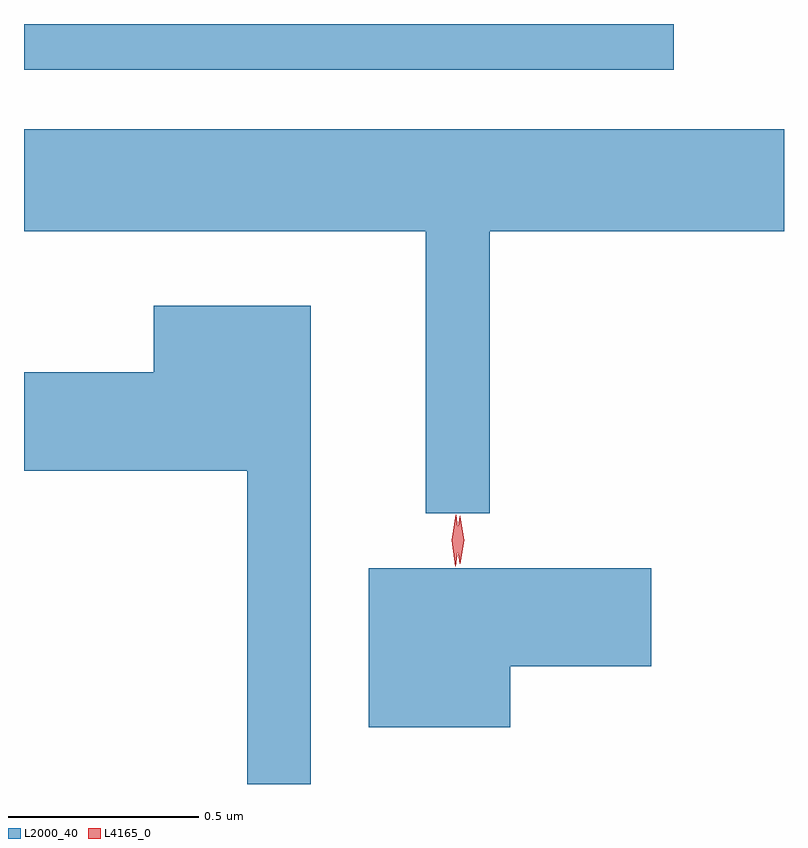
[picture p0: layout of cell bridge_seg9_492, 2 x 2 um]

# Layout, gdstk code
import gdstk
lib = gdstk.Library(unit=1e-6, precision=1e-09)
def R(c, l, rs):  # rectangles x0, y0, x1, y1
    for r in rs: c.add(gdstk.rectangle(r[:2], r[2:], *l))
def P(c, l, *ps):  # polygons
    for p in ps: c.add(gdstk.Polygon(p, *l))
L2000_40 = (2000, 40)
L4165_0 = (4165, 0)

bridge_seg9_492 = lib.new_cell('bridge_seg9_492')
R(bridge_seg9_492, L2000_40, [(525.014,2012.221,526.724,2012.341)])
P(bridge_seg9_492, L2000_40, [(526.239,2011.796),(527.014,2011.796),(527.014,2012.064),(525.014,2012.064),(525.014,2011.796),(526.071,2011.796),(526.071,2011.053),(526.239,2011.053)],
  [(525.769,2011.599),(525.356,2011.599),(525.356,2011.424),(525.014,2011.424),(525.014,2011.166),(525.601,2011.166),(525.601,2010.341),(525.769,2010.341)],
  [(526.294,2010.651),(526.664,2010.651),(526.664,2010.909),(525.921,2010.909),(525.921,2010.491),(526.294,2010.491)])
P(bridge_seg9_492, L4165_0, [(526.161,2010.92),(526.152,2010.983),(526.161,2011.046),(526.162,2011.047),(526.162,2011.046),(526.172,2010.983),(526.162,2010.92),(526.162,2010.92)],
  [(526.149,2010.914),(526.149,2010.914),(526.14,2010.982),(526.15,2011.05),(526.151,2011.05),(526.152,2011.05),(526.16,2010.982),(526.15,2010.914)])

lib.write_gds('bridge_seg9_492.gds')
